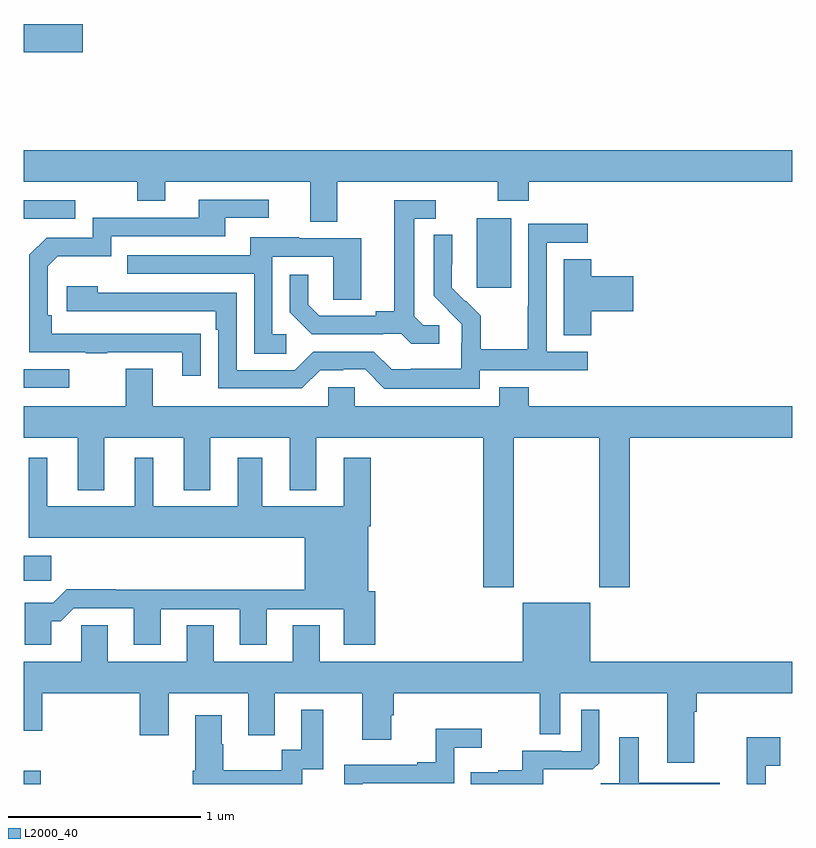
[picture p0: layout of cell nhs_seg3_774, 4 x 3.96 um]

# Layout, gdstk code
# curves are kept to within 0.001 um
import gdstk
lib = gdstk.Library(unit=1e-6, precision=1e-09)
def R(c, l, rs):  # rectangles x0, y0, x1, y1
    for r in rs: c.add(gdstk.rectangle(r[:2], r[2:], *l))
def P(c, l, *ps):  # polygons
    for p in ps: c.add(gdstk.Polygon(p, *l))
L2000_40 = (2000, 40)

nhs_seg3_774 = lib.new_cell('nhs_seg3_774')
R(nhs_seg3_774, L2000_40, [(149,744.4,149.087,744.469), (149,745.459,149.143,745.588), (149,746.463,149.236,746.559), (151.358,746.985,151.537,747.346), (149,747.345,149.266,747.441), (149,748.211,149.305,748.358)])
P(nhs_seg3_774, L2000_40, [(150.631,747.536),(151.468,747.536),(151.468,747.437),(151.628,747.437),(151.628,747.536),(153,747.536),(153,747.7),(149,747.7),(149,747.536),(149.59,747.536),(149.59,747.437),(149.737,747.437),(149.737,747.536),(150.491,747.536),(150.491,747.328),(150.631,747.328)],
  [(149.921,746.744),(149.144,746.745),(149.144,746.842),(149.124,746.842),(149.124,747.096),(149.177,747.149),(149.454,747.149),(149.454,747.252),(150.049,747.252),(150.049,747.348),(150.274,747.348),(150.274,747.444),(149.909,747.444),(149.909,747.348),(149.358,747.348),(149.358,747.246),(149.118,747.246),(149.028,747.156),(149.028,746.649),(149.323,746.649),(149.323,746.644),(149.435,746.644),(149.435,746.649),(149.825,746.649),(149.825,746.526),(149.921,746.526)],
  [(151.162,746.79),(151.08,746.79),(151.033,746.837),(151.033,747.345),(151.144,747.345),(151.144,747.441),(150.929,747.441),(150.929,746.861),(150.833,746.861),(150.833,746.838),(150.538,746.838),(150.481,746.895),(150.481,747.052),(150.384,747.052),(150.384,746.858),(150.5,746.742),(150.872,746.742),(150.872,746.745),(150.966,746.745),(151.018,746.693),(151.162,746.693)],
  [(151.374,746.556),(151.936,746.556),(151.936,746.652),(151.722,746.652),(151.722,747.219),(151.936,747.219),(151.936,747.318),(151.626,747.318),(151.626,746.888),(151.624,746.888),(151.624,746.665),(151.379,746.665),(151.379,746.839),(151.302,746.916),(151.299,746.913),(151.229,746.984),(151.23,747.26),(151.134,747.26),(151.134,746.942),(151.28,746.794),(151.28,746.697),(151.278,746.697),(151.278,746.563),(151.015,746.563),(151.015,746.559),(150.915,746.559),(150.822,746.652),(150.507,746.652),(150.411,746.556),(150.108,746.556),(150.108,746.958),(149.384,746.958),(149.384,746.992),(149.223,746.992),(149.223,746.862),(149.999,746.862),(149.999,746.765),(150.012,746.765),(150.012,746.46),(150.447,746.46),(150.543,746.556),(150.662,746.556),(150.662,746.559),(150.777,746.559),(150.877,746.459),(151.374,746.459)],
  [(150.367,746.742),(150.294,746.742),(150.294,747.147),(150.612,747.147),(150.612,746.923),(150.757,746.923),(150.757,747.243),(150.433,747.243),(150.433,747.247),(150.179,747.247),(150.179,747.153),(149.539,747.153),(149.539,747.057),(150.198,747.057),(150.198,746.641),(150.367,746.641)],
  [(151.955,746.861),(152.173,746.861),(152.173,747.044),(151.955,747.044),(151.955,747.134),(151.811,747.134),(151.811,746.737),(151.955,746.737)],
  [(149.671,746.563),(149.531,746.563),(149.531,746.368),(149,746.368),(149,746.204),(149.279,746.204),(149.279,745.931),(149.419,745.931),(149.419,746.204),(149.831,746.204),(149.831,745.931),(149.971,745.931),(149.971,746.204),(150.383,746.204),(150.383,745.931),(150.523,745.931),(150.523,746.204),(151.391,746.204),(151.391,745.425),(151.551,745.425),(151.551,746.204),(151.996,746.204),(151.996,745.425),(152.156,745.425),(152.156,746.204),(153,746.204),(153,746.368),(151.628,746.368),(151.628,746.467),(151.475,746.467),(151.475,746.368),(150.723,746.368),(150.723,746.466),(150.585,746.466),(150.585,746.368),(149.671,746.368)],
  [(149.143,745.247),(149.192,745.247),(149.259,745.314),(149.573,745.314),(149.573,745.125),(149.713,745.125),(149.713,745.311),(150.125,745.311),(150.125,745.125),(150.265,745.125),(150.265,745.311),(150.665,745.311),(150.665,745.125),(150.83,745.125),(150.83,745.404),(150.793,745.404),(150.793,745.742),(150.806,745.742),(150.806,746.098),(150.665,746.098),(150.665,745.846),(150.241,745.846),(150.241,746.098),(150.113,746.098),(150.113,745.846),(149.674,745.846),(149.674,746.098),(149.576,746.098),(149.576,745.846),(149.122,745.846),(149.122,746.098),(149.024,746.098),(149.024,745.682),(150.461,745.682),(150.461,745.412),(149.477,745.412),(149.477,745.415),(149.222,745.415),(149.152,745.345),(149.003,745.345),(149.003,745.125),(149.143,745.125)],
  [(152.491,744.776),(152.504,744.776),(152.504,744.872),(153,744.872),(153,745.036),(151.948,745.036),(151.948,745.345),(151.598,745.345),(151.598,745.036),(150.541,745.036),(150.541,745.226),(150.401,745.226),(150.401,745.036),(149.989,745.036),(149.989,745.226),(149.849,745.226),(149.849,745.036),(149.437,745.036),(149.437,745.226),(149.298,745.226),(149.298,745.036),(149,745.036),(149,744.678),(149.096,744.678),(149.096,744.872),(149.603,744.872),(149.603,744.654),(149.755,744.654),(149.755,744.872),(150.167,744.872),(150.167,744.654),(150.307,744.654),(150.307,744.872),(150.761,744.872),(150.761,744.63),(150.913,744.63),(150.913,744.759),(150.926,744.759),(150.926,744.872),(151.686,744.872),(151.686,744.658),(151.794,744.658),(151.794,744.872),(152.351,744.872),(152.351,744.51),(152.491,744.51)],
  [(150.45,744.477),(150.559,744.477),(150.559,744.787),(150.443,744.787),(150.443,744.578),(150.342,744.578),(150.342,744.472),(150.039,744.472),(150.039,744.606),(150.031,744.606),(150.031,744.757),(149.891,744.757),(149.891,744.468),(149.879,744.468),(149.879,744.4),(150.45,744.4)],
  [(151.705,744.476),(151.963,744.476),(151.995,744.507),(151.995,744.787),(151.902,744.787),(151.902,744.57),(151.802,744.57),(151.802,744.573),(151.595,744.573),(151.595,744.472),(151.471,744.472),(151.471,744.46),(151.327,744.46),(151.327,744.4),(151.705,744.4)],
  [(150.765,744.405),(151.242,744.405),(151.242,744.59),(151.384,744.59),(151.384,744.689),(151.144,744.689),(151.144,744.514),(151.049,744.514),(151.049,744.501),(150.669,744.501),(150.669,744.4),(150.765,744.4)],
  [(152.862,744.494),(152.938,744.494),(152.938,744.643),(152.765,744.643),(152.765,744.4),(152.862,744.4)],
  [(152.623,744.406),(152.203,744.406),(152.203,744.643),(152.099,744.643),(152.099,744.404),(152.004,744.404),(152.004,744.4),(152.623,744.4)])

lib.write_gds('nhs_seg3_774.gds')
